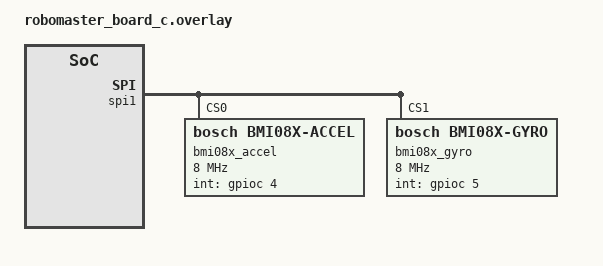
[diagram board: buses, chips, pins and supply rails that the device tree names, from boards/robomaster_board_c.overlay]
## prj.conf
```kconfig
# 启用线程分析器
CONFIG_THREAD_ANALYZER=y
CONFIG_THREAD_ANALYZER_USE_LOG=y
CONFIG_THREAD_ANALYZER_USE_PRINTK=n
CONFIG_THREAD_NAME=y
# CONFIG_THREAD_ANALYZER_AUTO=y
# CONFIG_THREAD_ANALYZER_AUTO_INTERVAL=5
CONFIG_THREAD_ANALYZER_LOG_LEVEL_INF=y
CONFIG_THREAD_ANALYZER_AUTO_SEPARATE_CORES=n

# 启用 Shell 支持
CONFIG_SHELL=n
CONFIG_SHELL_BACKENDS=n
CONFIG_SHELL_BACKEND_SERIAL=n

# 启用 UART 控制台
CONFIG_UART_CONSOLE=y

# 禁用 SEGGER RTT
CONFIG_USE_SEGGER_RTT=n

# 启用事件支持
CONFIG_EVENTS=y

# 启用控制台支持
CONFIG_CONSOLE=y

# 启用日志系统
CONFIG_LOG=y
CONFIG_LOG_MODE_IMMEDIATE=y
CONFIG_LOG_PRINTK=y
CONFIG_LOG_BACKEND_UART=y
CONFIG_LOG_MODE_IMMEDIATE=y

# 启用串行支持
CONFIG_SERIAL=y
CONFIG_SPI_ASYNC=y
# 禁用优化
CONFIG_NO_OPTIMIZATIONS=y

# 启用驱动
CONFIG_MOTOR=y
CONFIG_MOTOR_DJI=y
CONFIG_MOTOR_LOG_LEVEL=4
CONFIG_CAN=y
CONFIG_MOTOR_INIT_PRIORITY=90

CONFIG_ARES=y
CONFIG_ARES_SBUS=y
CONFIG_SBUS_INIT_PRIORITY=90

# use ASYNC uart API
CONFIG_SERIAL=y
CONFIG_UART_ASYNC_API=y
CONFIG_UART_INTERRUPT_DRIVEN=y

CONFIG_DMA=y
CONFIG_DMA_STM32=y  # STM32 DMA 驱动
CONFIG_UART_STM32=y # STM32 UART 驱动
# CONFIG_STM32_UART_DMA=y

# CONFIG_HAS_STM32CUBE=y
# CONFIG_USE_STM32_HAL_DMA=y
CONFIG_SPI=y
CONFIG_SPI_STM32=y

#
# Device Drivers
#
CONFIG_SENSOR=y
CONFIG_BMI08X=y
# CONFIG_BMI08X_ACCEL_TRIGGER_NONE is not set
CONFIG_BMI08X_ACCEL_TRIGGER_GLOBAL_THREAD=y
# CONFIG_BMI08X_ACCEL_TRIGGER_OWN_THREAD is not set
# CONFIG_BMI08X_GYRO_TRIGGER_NONE is not set
CONFIG_BMI08X_GYRO_TRIGGER_GLOBAL_THREAD=y
# CONFIG_BMI08X_GYRO_TRIGGER_OWN_THREAD is not set
CONFIG_BMI08X_I2C_WRITE_BURST_SIZE=16
```

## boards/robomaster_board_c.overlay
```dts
/ {
	rm_motor {
		motor0: motor0{
			compatible = "dji,motor";
            is_m3508;
			id = <1>;
            rx_id = <0x201>;
            tx_id = <0x200>;
			gear_ratio = "19.20";
			status = "okay";
			can_channel = <&canbus1>;
			controllers = <&angle_pid_1 &speed_pid_1>;
			capabilities = "angle", "speed";
		};

		motor1: motor1{
			compatible = "dji,motor";
            is_m3508;
			id = <2>;
            rx_id = <0x202>;
            tx_id = <0x200>;
			gear_ratio = "19.20";
			status = "okay";
			can_channel = <&canbus1>;
			controllers = <&angle_pid_1 &speed_pid_1>;
			capabilities = "angle", "speed";
		};
	};

	pid {
		angle_pid_1: angle_pid_1 {
			#controller-cells = <0>;
			compatible = "pid,single";
			k_p = "1";
			k_i = "0.0";
			k_d = "0.008";
		};
		speed_pid_1: speed_pid_1 {
			#controller-cells = <0>;
			compatible = "pid,single";
			k_p = "1";
			k_i = "0.0";
			k_d = "0.08";
		};
		angle_pid_2: angle_pid_2 {
			#controller-cells = <0>;
			compatible = "pid,single";
			k_p = "7.00";
			k_i = "0.03";
			k_d = "8.00";
		};
		speed_pid_2: speed_pid_2 {
			#controller-cells = <0>;
			compatible = "pid,single";
			k_p = "8.80";
			k_i = "0.20";
			k_d = "5.00";
		};
		// torque_pid_2: torque_pid_2 {
		// 	#controller-cells = <0>;
		// 	compatible = "pid,mit";
		// 	k_p = <1>;
		// 	k_i = <0>;
		// 	k_d = <0>;
		// };
	};
	sbus0: sbus0 {
		compatible = "ares,sbus";
		status = "okay";
	};
};

&spi1 {
    status = "okay";

    bmi08x_accel: bmi08x_accel@0 {
        compatible = "bosch,bmi08x-accel";
		status = "okay";
        reg = <0>;
        spi-max-frequency = <8000000>;
        int-gpios = <&gpioc 4 GPIO_ACTIVE_HIGH>;
        accel-hz = "1600";
        accel-fs = <12>;
		int1-map-io = <0>;
		int2-map-io = <0>;
        int1-conf-io = <0>;
		int2-conf-io = <0>;
		// 其他所需属性...
    };

    bmi08x_gyro: bmi08x_gyro@1{
        compatible = "bosch,bmi08x-gyro";
		status = "okay";
        reg = <1>;
        spi-max-frequency = <8000000>;
        int-gpios = <&gpioc 5 GPIO_ACTIVE_HIGH>;
        gyro-hz = "2000_532";
        gyro-fs = <2000>;
		int3-4-map-io = <0>;
		int3-4-conf-io = <0>;
        // 其他所需属性...
    };
};
```

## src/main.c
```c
/*
 * Copyright (c) 2024 ttwards <12411711@mail.sustech.edu.cn>
 *
 * SPDX-License-Identifier: Apache-2.0
 */

#include <stddef.h>
#include <stdint.h>
#include <stdio.h>
#include <math.h>
#include <zephyr/device.h>
#include <zephyr/logging/log.h>
#include <zephyr/devicetree.h>
#include <zephyr/drivers/can.h>
#include <zephyr/debug/thread_analyzer.h>
#include <zephyr/kernel.h>
#include <zephyr/sys/printk.h>
#include <zephyr/drivers/uart.h>
#include <zephyr/drivers/motor.h>
#include <zephyr/drivers/sbus.h>
#include <zephyr/drivers/sensor.h>
// #include <zephyr/drivers/adc.h>

LOG_MODULE_REGISTER(main, LOG_LEVEL_DBG);

#define G 9.80665f

#define HIGH_BYTE(x)           ((x) >> 8)
#define LOW_BYTE(x)            ((x) & 0xFF)
#define COMBINE_HL8(HIGH, LOW) ((HIGH << 8) + LOW)

/* Devicetree */
#define CANBUS_NODE    DT_CHOSEN(zephyr_canbus)
#define MOTOR1_NODE    DT_INST(0, dji_motor)
#define MOTOR2_NODE    DT_INST(1, dji_motor)
#define MOTOR3_NODE    DT_INST(2, dji_motor)
#define IMU_ACCEL_NODE DT_NODELABEL(bmi08x_accel)
#define IMU_GYRO_NODE  DT_NODELABEL(bmi08x_gyro)
// #define ADC_NODE       DT_NODELABEL(adc1)

#define SBUS_NODE DT_NODELABEL(sbus0)

#define CPU_NODE DT_NODELABEL(cpu0)

const struct device *cpu_dev = DEVICE_DT_GET(CPU_NODE);
const struct device *can_dev = DEVICE_DT_GET(CANBUS_NODE);
const struct device *motor1 = DEVICE_DT_GET(MOTOR1_NODE);
const struct device *motor2 = DEVICE_DT_GET(MOTOR2_NODE);
// const struct device *motor3  = DEVICE_DT_GET(MOTOR3_NODE);
const struct device *sbus = DEVICE_DT_GET(SBUS_NODE);


k_tid_t feedback_tid = 0;

float motor1_rpm = 0;
float motor2_rpm = 0;
// float motor3_rpm = 0;

/* CAN Feedback to console*/
K_THREAD_STACK_DEFINE(feedback_stack_area, 4096); // 定义线程栈
void console_feedback(void *arg1, void *arg2, void *arg3)
{
	// int err = adc_channel_setup_dt(&adc);
	// if (err < 0) {
	//     printk("Could not setup channel (%d)\n", err);
	// }
	while (1) {
		LOG_INF("rpm: motor1: %.2f %.2f\n", (double)motor1_rpm,
			(double)motor_get_speed(motor1));
		LOG_INF("rpm: motor2: %.2f %.2f\n", (double)motor2_rpm,
			(double)motor_get_speed(motor2));
		// LOG_INF("rpm: motor3: %.2f %.2f\n", (double)motor3_rpm,
		// (double)motor_get_speed(motor3));
		
		
		k_msleep(200);
	}
}
// 1 |
// 2 /
// 3 -
// 1  2  3
//       -
//
// |     /
/*
v_3 = (1/sqrt(2)) * (v_x - v_Y)
*/
// static void chassis_calc(float vert_x, float vert_y) {
//     float vert_x_rpm = vert_x * 120;
//     float vert_y_rpm = vert_y * 120;
//     motor1_rpm       = vert_x_rpm;
//     motor3_rpm       = vert_y_rpm;
//     motor2_rpm       = (-vert_x_rpm - vert_y_rpm) * 0.707f;
//     motor_set_speed(motor1, motor1_rpm);
//     motor_set_speed(motor2, motor2_rpm);
//     motor_set_speed(motor3, motor3_rpm);
// }

int sbus_get_bool(const struct device *sbus, int channel)
{
	sbus_get_digit(sbus, channel);
	return (int)sbus_get_percent(sbus, channel);
}

int main(void)
{

	motor_control(motor1, SET_ZERO_OFFSET);
	motor_control(motor2, SET_ZERO_OFFSET);

	motor_set_angle(motor1, 0);
	motor_set_angle(motor2, 0);

	/* Start Feedback thread*/
	struct k_thread feedback_thread_data;
	feedback_tid = k_thread_create(&feedback_thread_data,
				       feedback_stack_area, // 修改为 can_send_stack_area
				       K_THREAD_STACK_SIZEOF(feedback_stack_area), console_feedback,
				       (void *)motor1, NULL, NULL, 0, 0, K_MSEC(300));

	
	
	while (1) {
		motor_set_speed(motor1, -150);
		motor_set_speed(motor2, +150);
		
		for (int i = 250; i > 0; i--) {
			motor_set_speed(motor1, -150.0f * sqrtf(i / 250.0f));
			motor_set_speed(motor2, 150.0f * sqrtf(i / 250.0f));
			k_msleep(1);
		}
		
		
		motor_set_speed(motor1, 60);
		motor_set_speed(motor2, -60);
		k_msleep(100);
		for (int i = 250; i > 0; i--) {
			motor_set_speed(motor1, 60.0f * sqrtf(i / 250.0f));
			motor_set_speed(motor2, -60.0f * sqrtf(i / 250.0f));
			k_msleep(1);
		}

		k_msleep(500);
		
	}
}
```
